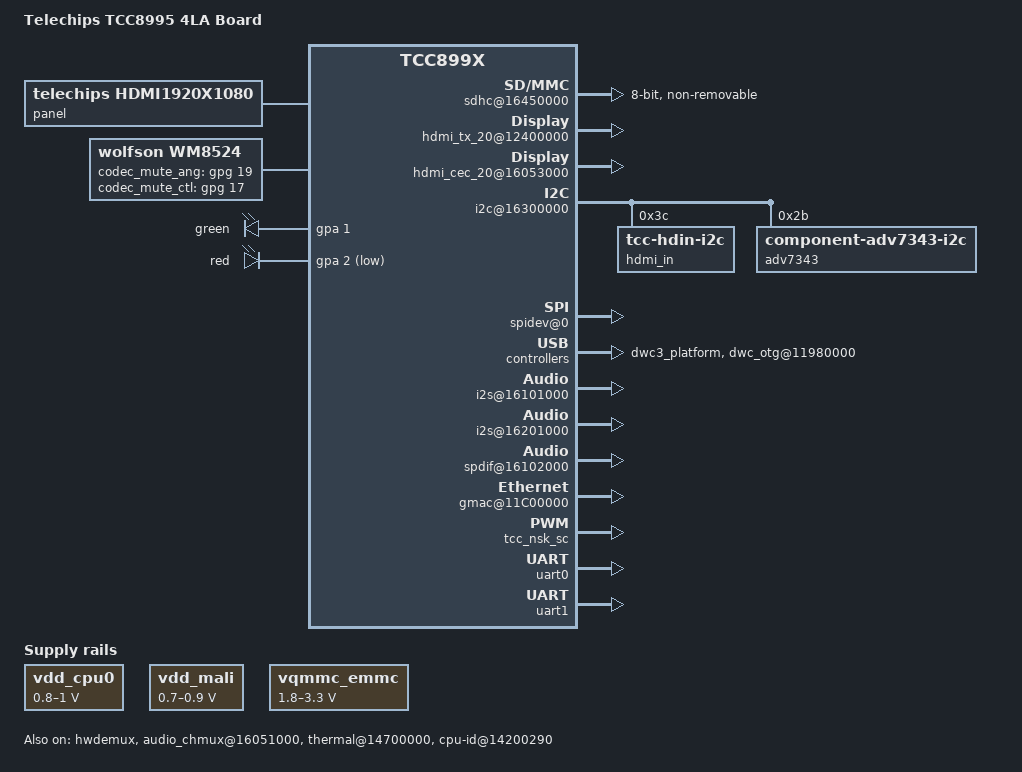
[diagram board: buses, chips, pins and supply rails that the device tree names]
/*
 * Device tree for Telechips TCC8990 STB board
 *
 * Copyright (C) 2018 Telechips Inc. - http://www.telechips.com
 *
 * This file is dual-licensed: you can use it either under the terms
 * of the GPL or the X11 license, at your option. Note that this dual
 * licensing only applies to this file, and not this project as a
 * whole.
 *
 *  a) This file is free software; you can redistribute it and/or
 *     modify it under the terms of the GNU General Public License as
 *     published by the Free Software Foundation; either version 2 of the
 *     License, or (at your option) any later version.
 *
 *     This file is distributed in the hope that it will be useful,
 *     but WITHOUT ANY WARRANTY; without even the implied warranty of
 *     MERCHANTABILITY or FITNESS FOR A PARTICULAR PURPOSE.  See the
 *     GNU General Public License for more details.
 *
 * Or, alternatively,
 *
 *  b) Permission is hereby granted, free of charge, to any person
 *     obtaining a copy of this software and associated documentation
 *     files (the "Software"), to deal in the Software without
 *     restriction, including without limitation the rights to use,
 *     copy, modify, merge, publish, distribute, sublicense, and/or
 *     sell copies of the Software, and to permit persons to whom the
 *     Software is furnished to do so, subject to the following
 *     conditions:
 *
 *     The above copyright notice and this permission notice shall be
 *     included in all copies or substantial portions of the Software.
 *
 *     THE SOFTWARE IS PROVIDED "AS IS", WITHOUT WARRANTY OF ANY KIND,
 *     EXPRESS OR IMPLIED, INCLUDING BUT NOT LIMITED TO THE WARRANTIES
 *     OF MERCHANTABILITY, FITNESS FOR A PARTICULAR PURPOSE AND
 *     NONINFRINGEMENT. IN NO EVENT SHALL THE AUTHORS OR COPYRIGHT
 *     HOLDERS BE LIABLE FOR ANY CLAIM, DAMAGES OR OTHER LIABILITY,
 *     WHETHER IN AN ACTION OF CONTRACT, TORT OR OTHERWISE, ARISING
 *     FROM, OUT OF OR IN CONNECTION WITH THE SOFTWARE OR THE USE OR
 *     OTHER DEALINGS IN THE SOFTWARE.
 */

#include "tcc8990.dtsi"
#include "tcc899x-linux.dtsi"

/ {
	model = "Telechips TCC8995 4LA Board";
	compatible = "telechips,tcc8995", "telechips,tcc899x";

	chosen {
	};

	cpu0-regulators {
		compatible = "regulator-gpio";

		regulator-name = "vdd_cpu0";
		regulator-min-microvolt = < 800000>;
		regulator-max-microvolt = <1000000>;
		regulator-type = "voltage";
		regulator-always-on;

		gpios = <&gpf 22 0x4>;	//CPU_VOLCTL0

		gpios-states = <0>;

		states = < 800000 0x0
			  800000 0x1
			  900000 0x2
			  1000000 0x3
		>;

		startup-delay-us = <100000>;
		enable-active-high;
	};

	mali-regulators {
		compatible = "regulator-gpio";

		regulator-name = "vdd_mali";
	        regulator-min-microvolt = <700000>;
	        regulator-max-microvolt = <900000>;
		regulator-type = "voltage";
		regulator-always-on;

		gpios = <&gpf 21 0x4>;	//GB_VOLCTL1, GB_VOLCTL0
		gpios-states = <0>;

	        states = < 700000 0x1
	                800000 0x2
	                900000 0x3
	                >;

		startup-delay-us = <100000>;
		enable-active-high;
	};

	gpu {
	        operating-points-v2 = <&gpu_opp_table>;
	};

	gpu_opp_table {
	    opp@444000000 {
		opp-hz = /bits/ 64 <444000000>;
		opp-microvolt = <700000>;
		opp-core-mask = /bits/ 64 <0x3>;
	    };
	    opp@592000000 {
	        opp-hz = /bits/ 64 <592000000>;
	        opp-microvolt = <800000>;
	        opp-core-mask = /bits/ 64 <0x3>;
	    };
	    opp@666000000 {
	        opp-hz = /bits/ 64 <666000000>;
	        opp-microvolt = <900000>;
	        opp-core-mask = /bits/ 64 <0x3>;
	    };
	};
	
	panel {
		status = "okay";
		compatible = "telechips,hdmi1920x1080";
	};

	tve@12200000 {
		status = "okay";
	};

	composite {
		status = "okay";
	};

	/* OTT doesn't has Component-output */
	//component {
	//	status = "okay";
	//	io_port_num = <0>;
	//};

	output_starter {
		status = "okay";
	};

	//overlaymixer:overlaymixer@1A100000 {
	//	status ="okay";
	//	contiguousSize = <0x1000000>;  [> 16MB (if > 512MB RAM) refer to Guide 27 Page <]
	//	baseAddress = <0x20000000>;
	//	physSize = <0x80000000>; [>  DRAM size (0x40000000 = 1GB, 0x80000000 = 2GB) <]
	//};

	fbdisplay: fbdisplay@12000000 {
		telechips,fbdisplay_num = <0>;
		status ="okay";
	};

	tcc_overlay_drv {
		compatible = "telechips,tcc_overlay";
		status = "okay";
		fbdisplay-overlay = <&fbdisplay>;
	};

	tcc_vsync_drv {
		compatible = "telechips,tcc_vsync";
		display-vioc0 = <&vioc_disp VIOC_DISP0>;
		display-vioc1 = <&vioc_disp VIOC_DISP1>;
		status = "okay";
	};

	tcc_video_viqe {
		compatible = "telechips,tcc_viqe";
		status ="okay";
		tcc_viqe_viqe_common {
			board_num=<1>;
		};

	        tcc_video_viqe_external_sub {
	            telechips,sc = <&vioc_scaler VIOC_SCALER0>;
	        };

		tcc_video_scaler_sub_m2m {
			m2m_sc_scaler = <&vioc_scaler VIOC_SCALER0>;
		};
	};

	scaler_drv@1 {
		rdmas = <&vioc_rdma VIOC_RDMA16>;
		scalers = <&vioc_scaler VIOC_SCALER1>;
		wmixs = <&vioc_wmix VIOC_WMIX5>;
		wdmas = <&vioc_wdma VIOC_WDMA06>;
		settop_support = <1>;
		status = "okay";
	};

	scaler_drv@3 {
		rdmas = <&vioc_rdma VIOC_RDMA07>;
		scalers = <&vioc_scaler VIOC_SCALER3>;
		wmixs = <&vioc_wmix VIOC_WMIX1>;
		wdmas = <&vioc_wdma VIOC_WDMA01>;
		settop_support = <1>;
		status = "okay";
	};

	wmixer_drv@0 {
		status = "okay";
	};

	wmixer_drv@1 {
		status = "okay";
	};

	vout_drv@0 {
		status = "okay";
	};

	/* TBD */
	sdhc@16440000 {
		//status = "okay";
		controller-id = <0>;
		bus-width = <4>;
		max-frequency = <200000000>;
		pinctrl-names = "default", "active";
		pinctrl-0 = <&sd0_2_idle>;
		pinctrl-1 = <&sd0_2_clk &sd0_2_cmd &sd0_2_bus4>;
	};

	/* eMMC */
	vqmmc_emmc: vqmmc_emmc {
		compatible = "regulator-gpio";

		regulator-name = "vqmmc_emmc";
		regulator-min-microvolt = <1800000>;
		regulator-max-microvolt = <3300000>;
		regulator-type = "voltage";
		regulator-ramp-delay = <10>;
		regulator-always-on;

		//gpios = <&gpa 4 0x4>;	//EMMC_VOLCTL
		gpios-states = <0>;
		states = < 1800000 0x0
			3300000 0x1
		>;
	};

	sdhc@16450000 {
		status = "okay";
		compatible = "telechips,tcc-sdhci";
		controller-id = <1>;
		pinctrl-names = "default";
		pinctrl-0 = <&sd1_1_clk &sd1_1_cmd &sd1_1_bus8>;

		bus-width = <8>;
		max-frequency = <200000000>;

		non-removable;
		keep-power-in-suspend;
		disable-wp;
		cap-mmc-hw-reset;
		mmc-ddr-1_8v;

		tcc-mmc-reset = <&gpa 6 0>;

		vqmmc-supply = <&vqmmc_emmc>;
	};

	/* SUB Board */
	sdhc@16460000 {
		//status = "okay";
		controller-id = <2>;
		bus-width = <4>;
		max-frequency = <200000000>;
		pinctrl-names = "default", "active";
		pinctrl-0 = <&sd2_1_idle>;
		pinctrl-1 = <&sd2_1_clk &sd2_1_cmd &sd2_1_bus4>;
	};

	hdmi_tx_20@12400000 {
		status = "okay";
		hdmi_ref_src_clock = <0>; // 0 XIN, 1 X-TAL, 2 PERI, 3, PMU XIN
		hdmi_phy_type = <1>; // 0 8990, 1 8995_OTT

		/* Source Product Description */
		product_description = "TCC8995_ott";
	};

	hdmi_cec_20@16053000 {
		status = "okay";
	};

	/*tcc_dxb_ctrl {
		compatible = "telechips,tcc_dxb_ctrl";
		pw-gpios   = <&gpe 20 0>;
		dxb0-gpios = <&gpe 22 0>, <&gpe 21>, <&gpd 2 0>, <>;
		dxb1-gpios = <>, <>, <>, <>;
		ant-gpios  = <>, <>;
	};*/

	/* I2C */

	// Default set
	i2c@16300000 {
		port-mux = <9>;
		status = "okay";
		pinctrl-names = "default";
		pinctrl-0 = <&i2c9_bus>;

		hdmi_in@78 {
			compatible = "tcc-hdin-i2c";
			reg = <0x3C>;
		};

		adv7343@20 {
			compatible = "component-adv7343-i2c";
			reg = <0x2b>;	/* ALSB=1, Write=0x56, Read=0x57 */
		};
	};

	// DXB
	/*i2c@16310000 {
		port-mux = <8>;
		status = "okay";
		pinctrl-names = "default";
		pinctrl-0 = <&i2c12_bus>;	//gpf 19, 20
	};*/

	/* TODO : need to modify vioc index
	hdmi_in {
		compatible = "telechips-hdin";
		status = "okay";
		pinctrl-names = "default";
		pinctrl-0 = <&hdin_clki &hdin_hsync &hdin_vsync &hdin_data &hdin_de>;
		clocks = <&clk_ddi DDIBUS_VIOC>;
		hdin_port = <&cifport 3 1>;
		hdin_wmixer = <&vioc_wmix 5>;
		hdin_wdma = <&vioc_wdma 5>;
		hdin_videoin = <&vioc_vin 4 0>;
		hdin_scaler = <&vioc_scaler 0>;
		hdin_config = <&vioc_config 0>;
		hdin_viqe = <&vioc_viqe 0>;

		ep9553t{
			rst-gpios = <&gpe 31 0>;
			pwr-gpios = <&gpf 30 0>;
			key-gpios = <&gpg 15 0>;
			int-gpios = <&gpg 13 1>;
			polarity_hsync = <1>;
			polarity_vsync = <1>;
			field_bfield_low = <0>;
			polarity_data_en = <0>;
			gen_field_en = <1>;
			polarity_pclk = <1>;
			conv_en = <0>;
			hsde_connect_en = <0>;
			vs_mask = <0>;
			input_fmt = <0>;
			data_order = <5>;
			intpl_en = <0>;
			wdma_swap_order = <0>;
		};
	};
	*/

	/* GPSB */
	gpsb0@16900000 {
		status = "okay";
		gpsb-port = <3>;
		pinctrl-names = "idle", "active";
		pinctrl-0 = <&gpsb3_bus_idle>;
		pinctrl-1 = <&gpsb3_bus_spi>;

		#address-cells = <1>;
		#size-cells = <0>;
		spidev@0 {
			compatible = "rohm,dh2228fv";
			reg = <0>;
			spi-max-frequency = <2000000>;
		};
	};

	gpsb1@16910000 {
		status = "okay";
		gpsb-port = <5>;
		pinctrl-names = "idle", "active";
		pinctrl-0 = <&gpsb5_bus_idle>;
		pinctrl-1 = <&gpsb5_bus_tsif>;
	};

/*
	gpsb2@16920000 {
		status = "okay";
		gpsb-port = <4>;
		pinctrl-names = "idle", "active";
		pinctrl-0 = <&gpsb4_bus_idle>;
		pinctrl-1 = <&gpsb4_bus_tsif>;
	};
*/

/* TODO : Need to decide port for each gpsb channel
	gpsb3@16930000 {
		status = "okay";
		gpsb-port = <4>;
		pinctrl-names = "default";
		pinctrl-0 = <&gpsb5_bus>;
	};

	gpsb4@16940000 {
		status = "okay";
		gpsb-port = <?>;
		pinctrl-names = "default";
		pinctrl-0 = <&gpsb5_bus>;
	};

	gpsb5@16950000 {
		status = "okay";
		gpsb-port = <?>;
		pinctrl-names = "default";
		pinctrl-0 = <&gpsb5_bus>;
	};
*/

	/* USB 3.0 DRD */
	dwc3_phy@11D90000 {
		status = "okay";
		vbus-ctrl-able;
		vbus-gpio = <&gpd 19 0>;
	};
	dwc3_platform {
		status = "okay";
		//usb3en-ctrl-able;
		//usb3en-gpio = <&gpc 20 0>;
		//vbus-source-ctrl;
		vbus-ctrl-able;
		vbus-gpio = <&gpd 19 0>;
		//pinctrl-names = "default";
		//vdd_dwc-supply = <&vdd_v5p0_reg>;
	};

	/* USB 2.0 HOST */
	ehci_phy@11DA0010 {
		status = "okay";
		vbus-ctrl-able;
		vbus-gpio = <&gpd 15 0>;
	};

	mux_host_phy@11DA00DC {
		status = "okay";
		vbus-ctrl-able;
		vbus-gpio = <&gpd 18 0>;
	};

	dwc_otg_phy@11DA0100 {
		status = "okay";
		vbus-ctrl-able;
		vbus-gpio = <&gpd 18 0>;
	};

	ehci@11A00000 {
		status = "disable";
		hcd_id = <0>;
		phy-type = <1>;	    //pico phy = 1, nano phy = 0
		//hosten-ctrl-able;
		//hosten-gpio = <&gpe 15 0>;
		//vbus-ctrl-able;
		//vbus-gpio = <&gpd 15 0>;
		//vbus-source-ctrl;
		//pinctrl-names = "default";
		//vdd_ehci-supply = <&vdd_v5p0_reg>;

		//sq_level_ctl;
		TXVRT = <0xB>;
		TXRISET = <0x3>;
		TXAT = <0x1>;
	};

	ohci@11A80000 {
		status = "disable";
		//hosten-ctrl-able;
		//hosten-gpio = <&gpe 15 0>;
		//vbus-ctrl-able;
		//vbus-gpio = <&gpd 15 0>;
		//vbus-source-ctrl;
		//vdd_ohci-supply = <&vdd_v5p0_reg>;
	};

	/* USB 2.0 OTG */
	dwc_otg@11980000 {
	    status = "okay";
	    phy-type = <1>;     //pico phy = 1, nano phy = 0

	    vbus-ctrl-able;
	    vbus-gpio = <&gpd 18 0>;
	};

	wm8524: wm8524@0 {
		compatible = "wolfson,wm8524";
		status = "okay";

		/*codec_aif-gpios = <&gpd 6 0>;*/
		codec_mute_ang-gpios = <&gpg 19 0>;
		codec_mute_ctl-gpios = <&gpg 17 0>;
		/* value to enable mute*/
		codec_mute_ang-mute_value = <0>;
	};

	audio_chmux@16051000{
		compatible = "telechips,audio-chmux-899x";
		dai = <1 99>; // i2s0(x) i2s1(x)
		cdif = <99 99>; // cdif0(x) cdif1(x)
		spdif = <1 99>; // spdif0(x) spdif1(x)
		status = "okay";
	};

	i2s@16101000 {
		pinctrl-names = "default", "idle";
		pinctrl-0 = <&m0dai1_clks &m0dai1_dao0>;
		pinctrl-1 = <&m0dai1_clks_idle &m0dai1_dao0_idle>;
		status = "okay";
	};

	i2s@16201000 {
		status = "okay";
	};

	spdif@16102000 {
		pinctrl-names = "default", "idle";
		pinctrl-0 = <&m0dai1_spdif_tx>;
		pinctrl-1 = <&m0dai1_spdif_tx_idle>;
		status = "okay";
	};

	adma@16100000 {
		status = "okay";
	};

	adma@16200000 {
		status = "okay";
	};

	sound@0 {
		compatible = "telechips,snd-card";
		card-name = "TCC8995 OTT Card";
		status = "okay";

		telechips,dai-link@0 {
			stream-name="ANALOG";

			codec,format = "i2s"; // i2s, left_j, right_j
			codec,continuous-clock;

			mclk_div = <4>; // 4,6,8,16
			bclk_ratio = <64>; // 32,48,64fs
			pcm = <&adma0>;
			dai = <&i2s0>;
			codec = <&wm8524>;
			codec,dai-name = "wm8524-hifi";
		};

		telechips,dai-link@1 {
			stream-name="SPDIF_TX";

			pcm = <&adma0>;
			dai = <&spdif0>;
			playback-only;
		};

		telechips,dai-link@2 {
			stream-name="HDMI";

			codec,format = "i2s"; // i2s, left_j, right_j
			codec,continuous-clock;

			mclk_div = <4>; // 4,6,8,16
			bclk_ratio = <64>; // 32,48,64fs
			pcm = <&adma1>;
			dai = <&i2s1>;
		};
	};

	remote@16040000 {
		int-gpios = <&gpc 28 0>;
		pinctrl-names = "default";
		pinctrl-0 = <&remote_c28>;
		wakeupsrc = <011>; //RMISEL is 0x3 : GPIO_C28
		status = "okay";
	};

	gmac@11C00000 {
		status = "okay";
		phyrst-gpio = <&gpc 9 0>;
		phy-interface = "rgmii";
		ecid-mac-addr;

		txclk-o-dly = <0>;
		txclk-o-inv = <1>;
		txclk-o-dly_es = <2>;	
		txclk-o-inv_es = <0>;
		txclk-o-dly_cs = <6>;
		txclk-o-inv_cs = <0>;

		txen-dly = <0>;
		txer-dly = <0>;
		txd0-dly = <0>;
		txd1-dly = <0>;
		txd2-dly = <0>;
		txd3-dly = <0>;
		txd4-dly = <0>;
		txd5-dly = <0>;
		txd6-dly = <0>;
		txd7-dly = <0>;

		rxclk-i-dly = <4>;
		rxclk-i-inv = <1>;
		rxclk-i-dly_es = <17>;
		rxclk-i-inv_es = <0>;
		rxclk-i-dly_cs = <16>;
		rxclk-i-inv_cs = <0>;

		rxdv-dly = <0>;
		rxer-dly = <0>;
		rxd0-dly = <0>;
		rxd1-dly = <0>;
		rxd2-dly = <0>;
		rxd3-dly = <0>;
		rxd4-dly = <0>;
		rxd5-dly = <0>;
		rxd6-dly = <0>;
		rxd7-dly = <0>;
		crs-dly = <0>;
		col-dly = <0>;
		pinctrl-names = "default", "mii", "rmii", "gmii", "rgmii";
		pinctrl-0 = <>;
		pinctrl-1 = <&gmac1_mdc &gmac1_mdio &gmac1_col &gmac1_crs &gmac1_txer &gmac1_rxer
					 &gmac1_txclk &gmac1_txen &gmac1_txd0 &gmac1_txd1 &gmac1_txd2 &gmac1_txd3
					 &gmac1_rxclk &gmac1_rxdv &gmac1_rxd0 &gmac1_rxd1 &gmac1_rxd2 &gmac1_rxd3>;
		pinctrl-2 = <&gmac1_mdc &gmac1_mdio
					 &gmac1_txclk &gmac1_txen &gmac1_txd0 &gmac1_txd1
					 &gmac1_rxer &gmac1_rxdv &gmac1_rxd0 &gmac1_rxd1>;
		pinctrl-3 = <&gmac1_mdc &gmac1_mdio &gmac1_col &gmac1_crs &gmac1_txer &gmac1_rxer
					 &gmac1_txclk &gmac1_txen &gmac1_txd0 &gmac1_txd1 &gmac1_txd2 &gmac1_txd3
					 &gmac1_txd4 &gmac1_txd5 &gmac1_txd6 &gmac1_txd7
					 &gmac1_rxclk &gmac1_rxdv &gmac1_rxd0 &gmac1_rxd1 &gmac1_rxd2 &gmac1_rxd3
					 &gmac1_rxd4 &gmac1_rxd5 &gmac1_rxd6 &gmac1_rxd7>;
		pinctrl-4 = <&gmac1_mdc &gmac1_mdio
					 &gmac1_txclk &gmac1_txen &gmac1_txd0 &gmac1_txd1 &gmac1_txd2 &gmac1_txd3
					 &gmac1_rxclk &gmac1_rxdv &gmac1_rxd0 &gmac1_rxd1 &gmac1_rxd2 &gmac1_rxd3>;
	};

	pcie@11800000 {
		reset-gpio = <&gpc 30 0>;
		//status = "okay";
	};

	thermal@14700000 {
		compatible = "telechips,tcc-thermal";
		reg = <0x14700000 0x4 0x14700030 0x4 0x14200290 0x4 0x1420029C 0x4>;
		clocks = <&clk_isoip_top ISOIP_TOP_TSEN>;
		status = "okay";

		throttle_count = <5>;
		throttle_active_count = <0>;
		throttle_passive_count = <5>;

		cal_type = "TYPE_ONE_POINT_TRIMMING";
		polling-delay-idle = <0>;
		polling-delay-passive = <0>;

		throttle_table {
			throttle_tab_0 {
				temp = <75>;
				freq_max_cluster0 = <1000000>;
				freq_max_cluster1 = <900000>;
			};
			throttle_tab_1 {
				temp = <80>;
				freq_max_cluster0 = <900000>;
				freq_max_cluster1 = <810000>;
			};
			throttle_tab_2 {
				temp = <85>;
				freq_max_cluster0 = <800000>;
				freq_max_cluster1 = <720000>;
			};
			throttle_tab_3 {
				temp = <90>;
				freq_max_cluster0 = <700000>;
				freq_max_cluster1 = <630000>;
			};
			throttle_tab_4 {
				temp = <95>;
				freq_max_cluster0 = <600000>;
				freq_max_cluster1 = <540000>;
			};
		};
	};

	cpu-id@14200290{
		compatible = "telechips,tcc-cpu-id";
		reg = <0x14200290 0x4 0x14200298 0x4 0x1420029C 0x4 0x14400014 0x4>;
		status = "okay";
	};

	run-control {
		compatible = "gpio-leds";
		green {
			gpios = <&gpa 1 0>;
			default-state = "on";
		};
		red {
			gpios = <&gpa 2 1>;
			default-state = "on";
		};
	};

	tcc_nsk_sc: tcc_nsk_sc@16671000 {
		compatible = "telechips,tcc-nsk-sc";

		rst_gpios = <&gpd 15 0>;
		detect_gpios = <&gpd 20 0>;
		pwren_gpios = <&gpd 16 0>;
		vccsel_gpios = <&gpd 1 0>;

		clk_gpios = <&gpd 12 0>;
		data_c7_gpios = <&gpd 11 0>;
		data_c4_gpios = <&gpd 13 0>;
		data_c8_gpios = <&gpd 14 0>;

		tda8024_use = <1>;

		pinctrl-names = "default", "gpio_C4", "gpio_C8", "gpio_C7", "gpio_C3";
		pinctrl-0 = <&nsk_sc_ctrl>;
		pinctrl-1 = <&nsk_sc_gpio_C4>;
		pinctrl-2 = <&nsk_sc_gpio_C8>;
		pinctrl-3 = <&nsk_sc_gpio_C7>;
		pinctrl-4 = <&nsk_sc_gpio_C3>;

		status = "okay";
	};
};

&uart0 {
	pinctrl-names = "default";
	pinctrl-0 = <&uart2_data>;
	status = "okay";
};

/* bluetooth */
&uart1 {
	pinctrl-names = "default";
	pinctrl-0 = <&uart14_data &uart14_rtscts>;
	dmas = <&udma1 2 2 &udma1 3 2>;
	dma-names = "tx", "rx";
	status = "okay";
};

/* H/W Demux */
&hwdemux {
	compatible = "telechips,hwdemux";
	status = "okay";
};

/* Linux TV */
&tcc_hwdmx_tsif0 {
	compatible = "telechips,tcc89xx-hwdmx-tsif";
	tsif-port = <3>;
	pinctrl-names = "idle", "active";
	pinctrl-0 = <&tsrx3_idle>;
	pinctrl-1 = <&tsrx3_active>;
};
